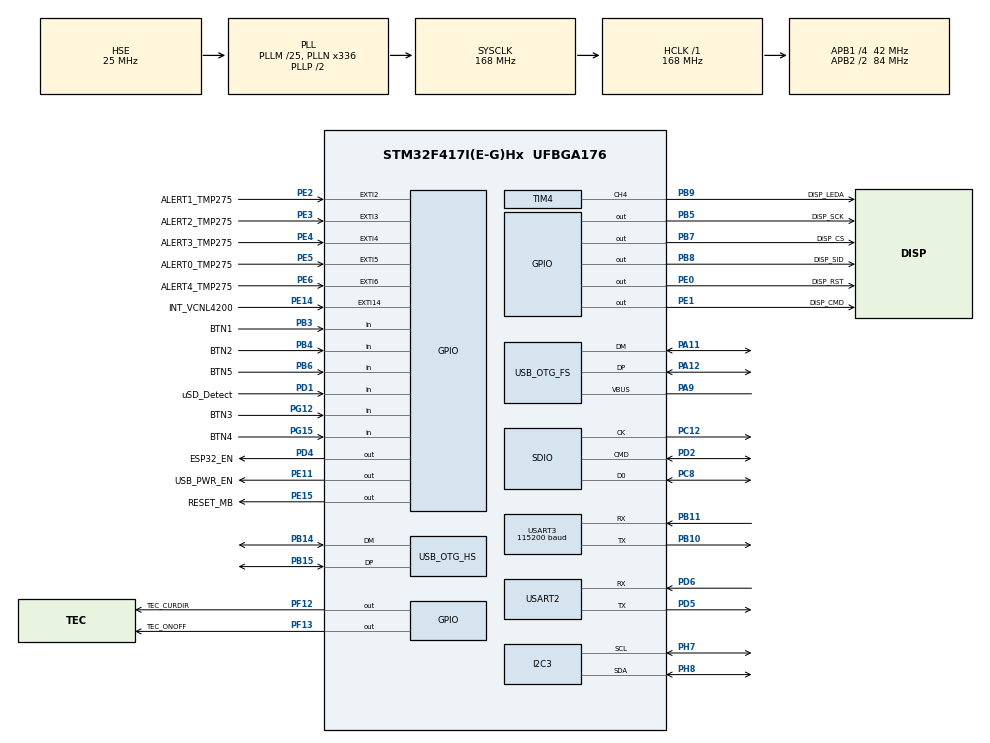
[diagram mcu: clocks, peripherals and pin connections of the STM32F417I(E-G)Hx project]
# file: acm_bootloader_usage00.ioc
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Dma.Request0=SDIO_RX
Dma.Request1=SDIO_TX
Dma.SDIO_RX.0.Direction=DMA_PERIPH_TO_MEMORY
Dma.SDIO_RX.0.FIFOMode=DMA_FIFOMODE_ENABLE
Dma.SDIO_RX.0.FIFOThreshold=DMA_FIFO_THRESHOLD_FULL
Dma.SDIO_RX.0.Instance=DMA2_Stream3
Dma.SDIO_RX.0.MemBurst=DMA_MBURST_INC4
Dma.SDIO_RX.0.MemDataAlignment=DMA_MDATAALIGN_WORD
Dma.SDIO_RX.0.MemInc=DMA_MINC_ENABLE
Dma.SDIO_RX.0.Mode=DMA_PFCTRL
Dma.SDIO_RX.0.PeriphBurst=DMA_PBURST_INC4
Dma.SDIO_RX.0.PeriphDataAlignment=DMA_PDATAALIGN_WORD
Dma.SDIO_RX.0.PeriphInc=DMA_PINC_DISABLE
Dma.SDIO_RX.0.Priority=DMA_PRIORITY_LOW
Dma.SDIO_TX.1.Direction=DMA_MEMORY_TO_PERIPH
Dma.SDIO_TX.1.FIFOMode=DMA_FIFOMODE_ENABLE
Dma.SDIO_TX.1.FIFOThreshold=DMA_FIFO_THRESHOLD_FULL
Dma.SDIO_TX.1.Instance=DMA2_Stream6
Dma.SDIO_TX.1.MemBurst=DMA_MBURST_INC4
Dma.SDIO_TX.1.MemDataAlignment=DMA_MDATAALIGN_WORD
Dma.SDIO_TX.1.MemInc=DMA_MINC_ENABLE
Dma.SDIO_TX.1.Mode=DMA_PFCTRL
Dma.SDIO_TX.1.PeriphBurst=DMA_PBURST_INC4
Dma.SDIO_TX.1.PeriphDataAlignment=DMA_PDATAALIGN_WORD
Dma.SDIO_TX.1.PeriphInc=DMA_PINC_DISABLE
Dma.SDIO_TX.1.Priority=DMA_PRIORITY_LOW
FATFS.BSP.number=1
FATFS.USE_DMA_CODE_SD=1
FATFS._MAX_SS=4096
FATFS._USE_LFN=1
FATFS0.BSP.STBoard=false
FATFS0.BSP.api=Unknown
FATFS0.BSP.i2caddr=0
FATFS0.BSP.instance=PD1
FATFS0.BSP.ip=GPIO
FATFS0.BSP.mode=Input
FATFS0.BSP.name=Detect_SDIO
FATFS0.BSP.solution=PD1
IWDG.Prescaler=IWDG_PRESCALER_256
Mcu.Family=STM32F4
Mcu.Name=STM32F417I(E-G)Hx
Mcu.Package=UFBGA176
NVIC.DMA2_Stream3_IRQn=true\:0\:0\:false\:false\:true\:false\:true
NVIC.DMA2_Stream6_IRQn=true\:0\:0\:false\:false\:true\:false\:true
NVIC.OTG_FS_IRQn=true\:0\:0\:false\:false\:true\:false\:true
NVIC.OTG_HS_IRQn=true\:0\:0\:false\:false\:true\:false\:true
NVIC.PriorityGroup=NVIC_PRIORITYGROUP_4
NVIC.SDIO_IRQn=true\:0\:0\:false\:false\:true\:true\:true
NVIC.TIM1_UP_TIM10_IRQn=true\:0\:0\:false\:false\:true\:false\:true
NVIC.TimeBase=TIM1_UP_TIM10_IRQn
NVIC.TimeBaseIP=TIM1
NVIC.USART2_IRQn=true\:0\:0\:false\:false\:true\:true\:true
NVIC.USART3_IRQn=true\:0\:0\:false\:false\:true\:true\:true
PA11.Mode=Device_Only
PA11.Signal=USB_OTG_FS_DM
PA12.Mode=Device_Only
PA12.Signal=USB_OTG_FS_DP
PA13.Mode=Serial_Wire
PA13.Signal=SYS_JTMS-SWDIO
PA14.Mode=Serial_Wire
PA14.Signal=SYS_JTCK-SWCLK
PA9.Mode=Activate_VBUS
PA9.Signal=USB_OTG_FS_VBUS
PB10.Mode=Asynchronous
PB10.Signal=USART3_TX
PB11.Mode=Asynchronous
PB11.Signal=USART3_RX
PB14.Mode=Host_FS
PB14.Signal=USB_OTG_HS_DM
PB15.Mode=Host_FS
PB15.Signal=USB_OTG_HS_DP
PB3.GPIO_Label=BTN1
PB3.Signal=GPIO_Input
PB4.GPIO_Label=BTN2
PB4.Signal=GPIO_Input
PB5.GPIO_Label=DISP_SCK
PB5.Signal=GPIO_Output
PB6.GPIO_Label=BTN5
PB6.Signal=GPIO_Input
PB7.GPIO_Label=DISP_CS
PB7.Signal=GPIO_Output
PB8.GPIO_Label=DISP_SID
PB8.Signal=GPIO_Output
PB9.GPIO_Label=DISP_LEDA
PB9.Signal=S_TIM4_CH4
PC12.Mode=SD_1_bit
PC12.Signal=SDIO_CK
PC14-OSC32_IN.Mode=LSE-External-Oscillator
PC14-OSC32_IN.Signal=RCC_OSC32_IN
PC15-OSC32_OUT.Mode=LSE-External-Oscillator
PC15-OSC32_OUT.Signal=RCC_OSC32_OUT
PC8.Mode=SD_1_bit
PC8.Signal=SDIO_D0
PD1.GPIO_Label=uSD_Detect
PD1.Signal=GPIO_Input
PD2.Mode=SD_1_bit
PD2.Signal=SDIO_CMD
PD4.GPIO_Label=ESP32_EN
PD4.Signal=GPIO_Output
PD5.Mode=Asynchronous
PD5.Signal=USART2_TX
PD6.Mode=Asynchronous
PD6.Signal=USART2_RX
PE0.GPIO_Label=DISP_RST
PE0.Signal=GPIO_Output
PE1.GPIO_Label=DISP_CMD
PE1.Signal=GPIO_Output
PE11.GPIO_Label=USB_PWR_EN
PE11.Signal=GPIO_Output
PE14.GPIO_Label=INT_VCNL4200
PE14.Signal=GPXTI14
PE15.GPIO_Label=RESET_MB
PE15.Signal=GPIO_Output
PE2.GPIO_Label=ALERT1_TMP275
PE2.Signal=GPXTI2
PE3.GPIO_Label=ALERT2_TMP275
PE3.Signal=GPXTI3
PE4.GPIO_Label=ALERT3_TMP275
PE4.Signal=GPXTI4
PE5.GPIO_Label=ALERT0_TMP275
PE5.Signal=GPXTI5
PE6.GPIO_Label=ALERT4_TMP275
PE6.Signal=GPXTI6
PF12.GPIO_Label=TEC_CURDIR
PF12.Signal=GPIO_Output
PF13.GPIO_Label=TEC_ONOFF
PF13.Signal=GPIO_Output
PG12.GPIO_Label=BTN3
PG12.Signal=GPIO_Input
PG15.GPIO_Label=BTN4
PG15.Signal=GPIO_Input
PH0-OSC_IN.Mode=HSE-External-Oscillator
PH0-OSC_IN.Signal=RCC_OSC_IN
PH1-OSC_OUT.Mode=HSE-External-Oscillator
PH1-OSC_OUT.Signal=RCC_OSC_OUT
PH7.Mode=I2C
PH7.Signal=I2C3_SCL
PH8.Mode=I2C
PH8.Signal=I2C3_SDA
ProjectManager.HeapSize=0x800
ProjectManager.StackSize=0x1000
ProjectManager.TargetToolchain=STM32CubeIDE
RCC.48MHZClocksFreq_Value=48000000
RCC.AHBFreq_Value=168000000
RCC.APB1CLKDivider=RCC_HCLK_DIV4
RCC.APB1Freq_Value=42000000
RCC.APB1TimFreq_Value=84000000
RCC.APB2CLKDivider=RCC_HCLK_DIV2
RCC.APB2Freq_Value=84000000
RCC.APB2TimFreq_Value=168000000
RCC.CortexFreq_Value=168000000
RCC.HCLKFreq_Value=168000000
RCC.HSE_VALUE=25000000
RCC.HSI_VALUE=16000000
RCC.PLLM=25
RCC.PLLN=336
RCC.PLLQ=7
RCC.RCC_MCO1Source=RCC_MCO1SOURCE_PLLCLK
RCC.RCC_MCODiv1=RCC_MCODIV_3
RCC.RCC_RTC_Clock_Source=RCC_RTCCLKSOURCE_LSE
RCC.RCC_RTC_Clock_SourceVirtual=RCC_RTCCLKSOURCE_LSE
RCC.SYSCLKFreq_VALUE=168000000
RCC.SYSCLKSource=RCC_SYSCLKSOURCE_PLLCLK
RCC.VCOOutputFreq_Value=336000000
RTC.Date=2
RTC.Format=RTC_FORMAT_BIN
RTC.Month=RTC_MONTH_AUGUST
RTC.WeekDay=RTC_WEEKDAY_SUNDAY
RTC.Year=20
SDIO.ClockDiv=3
SH.S_TIM4_CH4.0=TIM4_CH4,PWM Generation4 CH4
TIM4.Channel-PWM\ Generation4\ CH4=TIM_CHANNEL_4
TIM4.OCPolarity_4=TIM_OCPOLARITY_LOW
TIM4.Period=500-1
TIM4.Prescaler=42-1
TIM4.Pulse-PWM\ Generation4\ CH4=250-1
USART2.VirtualMode=VM_ASYNC
USART3.BaudRate=115200
USART3.VirtualMode=VM_ASYNC
USB_DEVICE.CLASS_NAME_FS=CDC
USB_DEVICE.VirtualMode-CDC_FS=Cdc
USB_DEVICE.VirtualModeFS=Cdc_FS
USB_HOST.BSP.number=1
USB_HOST.USBH_DEBUG_LEVEL-MSC_HS=2
USB_HOST.USBH_HandleTypeDef-MSC_HS=hUsbHostHS
USB_HOST.VirtualModeHS=Msc
USB_HOST0.BSP.STBoard=false
USB_HOST0.BSP.api=Unknown
USB_HOST0.BSP.i2caddr=0
USB_HOST0.BSP.instance=PE11
USB_HOST0.BSP.ip=GPIO
USB_HOST0.BSP.mode=Output
USB_HOST0.BSP.name=Drive_VBUS_HS
USB_HOST0.BSP.solution=PE11
USB_OTG_FS.VirtualMode=Device_Only
USB_OTG_HS.VirtualMode-Host_FS=Host_FS
USB_OTG_HS.dma_enable-Host_FS=ENABLE
VP_CRC_VS_CRC.Mode=CRC_Activate
VP_FATFS_VS_SDIO.Mode=SDIO
VP_FATFS_VS_USB.Mode=USB
VP_IWDG_VS_IWDG.Mode=IWDG_Activate
VP_RTC_VS_RTC_Activate.Mode=RTC_Enabled
VP_RTC_VS_RTC_Calendar.Mode=RTC_Calendar
VP_SYS_VS_tim1.Mode=TIM1
VP_TIM4_VS_ClockSourceINT.Mode=Internal
VP_USB_DEVICE_VS_USB_DEVICE_CDC_FS.Mode=CDC_FS
VP_USB_HOST_VS_USB_HOST_MSC_HS.Mode=MSC_HS
board=custom

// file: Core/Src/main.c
/* USER CODE BEGIN Header */
/**
  ******************************************************************************
  * @file           : main.c
  * @brief          : Main program body
  ******************************************************************************
  * @attention
  *
  * <h2><center>&copy; Copyright (c) 2021 STMicroelectronics.
  * All rights reserved.</center></h2>
  *
  * This software component is licensed by ST under Ultimate Liberty license
  * SLA0044, the "License"; You may not use this file except in compliance with
  * the License. You may obtain a copy of the License at:
  *                             www.st.com/SLA0044
  *
  ******************************************************************************
  */
/* USER CODE END Header */
#include "main.h"
#include "crc.h"
#include "dma.h"
#include "fatfs.h"
#include "i2c.h"
#include "iwdg.h"
#include "rtc.h"
#include "sdio.h"
#include "tim.h"
#include "usart.h"
#include "usb_device.h"
#include "usb_host.h"
#include "gpio.h"

/* USER CODE BEGIN Includes */
#include "retarget.h"
#include "fonts/font_tahoma.h"
#include "graphics.h"
#include "st7565.h"
#include "libbmp.h"
#include "eeprom.h"
/* USER CODE END Includes */

/* USER CODE BEGIN PM */
#define IS_BTN_PRESSED() \
    ((HAL_GPIO_ReadPin(BTN2_GPIO_Port, BTN2_Pin) == GPIO_PIN_RESET) ? 1 : 0)
#define IS_BTN_PRESSED1() \
    ((HAL_GPIO_ReadPin(BTN1_GPIO_Port, BTN1_Pin) == GPIO_PIN_RESET) ? 1 : 0)
#define AUTOPROG_ADDRESS	(uint32_t)0x080c0000
/* USER CODE END PM */

/* USER CODE BEGIN PV */
uint32_t __attribute__((section(".newsection")))  sharedmem;
uint16_t VirtAddVarTab[NB_OF_VAR]={10,0,0};
/* USER CODE END PV */

void SystemClock_Config(void);
void MX_USB_HOST_Process(void);

/* USER CODE BEGIN 0 */

void Peripherials_DeInit(void) {
//	BSP_SD_DeInit();
//	FATFS_DeInit();
	MX_FATFS_DeInit();
	HAL_UART_DeInit(&huart2);HAL_UART_MspDeInit(&huart2);
	HAL_UART_DeInit(&huart3);HAL_UART_MspDeInit(&huart3);
	BSP_SD_DeInit();
	MX_USB_HOST_DeInit();
	MX_GPIO_DeInit();
	__HAL_IWDG_RELOAD_COUNTER(&hiwdg);
}
/* USER CODE END 0 */

int main(void)
{

  /* MCU Configuration--------------------------------------------------------*/

  /* Reset of all peripherals, Initializes the Flash interface and the Systick. */
  HAL_Init();

  /* Configure the system clock */
  SystemClock_Config();

  /* Initialize all configured peripherals */
  MX_GPIO_Init();
  MX_DMA_Init();
  MX_I2C3_Init();
  MX_TIM4_Init();
  MX_RTC_Init();
  MX_SDIO_SD_Init();
  MX_FATFS_Init();
  MX_USB_DEVICE_Init();
  MX_USART2_UART_Init();
  MX_USART3_UART_Init();
  MX_USB_HOST_Init();
  MX_CRC_Init();
  MX_IWDG_Init();
  /* USER CODE BEGIN 2 */
	RetargetInit(&huart3);
	/////////////////////////////////////////
	HAL_Delay(1000);
	//////////////////////init LCD

	glcd_init(128,64);
	glcd_flip_screen(XLR_YTB);
	HAL_Delay(2000);
  /* USER CODE END 2 */

  /* Infinite loop */
  /* USER CODE BEGIN WHILE */
	char tmpstr[100];
	uint8_t counter=0;
	uint16_t Data;
	 printf("Start application.%x\n\r",sharedmem);
	 HAL_FLASH_Unlock();
	 HAL_Delay(200);
	 EE_Init();
	 HAL_Delay(200);
	 EE_ReadVariable(VirtAddVarTab[0], &Data);
	 HAL_FLASH_Lock();
	 printf("Application version:%d\n\r",Data);
	while (1)
  {
		HAL_IWDG_Refresh(&hiwdg);
		printf("Start application versionb(%d):%d\n\r",Data,counter);
	 sprintf(tmpstr,"Start application%d",counter++);
	draw_text(tmpstr,0,0 , Tahoma8, 1,0);
	glcd_refresh();
//	  HAL_TIM_PWM_Start(&htim4, TIM_CHANNEL_4);
//	 	 HAL_Delay(2000);
//	 HAL_TIM_PWM_Stop(&htim4, TIM_CHANNEL_4);

//	 	HAL_Delay(2000);
	if(IS_BTN_PRESSED())
	{
		////set shared memory
		sharedmem=2;
		Peripherials_DeInit();
		HAL_Delay(100);
		SCB->AIRCR= 0x05FA0000 | (uint32_t)0x04; //system reset
				while(1);

	}
	if(IS_BTN_PRESSED1())
	{
		sharedmem=4;
		Peripherials_DeInit();
		HAL_Delay(100);
		SCB->AIRCR= 0x05FA0000 | (uint32_t)0x04; //system reset
				while(1);
	}
	HAL_Delay(500);
    /* USER CODE END WHILE */
    MX_USB_HOST_Process();

  }
}

void SystemClock_Config(void)
{
  RCC_OscInitTypeDef RCC_OscInitStruct = {0};
  RCC_ClkInitTypeDef RCC_ClkInitStruct = {0};
  RCC_PeriphCLKInitTypeDef PeriphClkInitStruct = {0};

  /** Configure the main internal regulator output voltage
  */
  __HAL_RCC_PWR_CLK_ENABLE();
  __HAL_PWR_VOLTAGESCALING_CONFIG(PWR_REGULATOR_VOLTAGE_SCALE1);
  /** Initializes the RCC Oscillators according to the specified parameters
  * in the RCC_OscInitTypeDef structure.
  */
  RCC_OscInitStruct.OscillatorType = RCC_OSCILLATORTYPE_LSI|RCC_OSCILLATORTYPE_HSE
                              |RCC_OSCILLATORTYPE_LSE;
  RCC_OscInitStruct.HSEState = RCC_HSE_ON;
  RCC_OscInitStruct.LSEState = RCC_LSE_ON;
  RCC_OscInitStruct.LSIState = RCC_LSI_ON;
  RCC_OscInitStruct.PLL.PLLState = RCC_PLL_ON;
  RCC_OscInitStruct.PLL.PLLSource = RCC_PLLSOURCE_HSE;
  RCC_OscInitStruct.PLL.PLLM = 25;
  RCC_OscInitStruct.PLL.PLLN = 336;
  RCC_OscInitStruct.PLL.PLLP = RCC_PLLP_DIV2;
  RCC_OscInitStruct.PLL.PLLQ = 7;
  if (HAL_RCC_OscConfig(&RCC_OscInitStruct) != HAL_OK)
  {
    Error_Handler();
  }
  /** Initializes the CPU, AHB and APB buses clocks
  */
  RCC_ClkInitStruct.ClockType = RCC_CLOCKTYPE_HCLK|RCC_CLOCKTYPE_SYSCLK
                              |RCC_CLOCKTYPE_PCLK1|RCC_CLOCKTYPE_PCLK2;
  RCC_ClkInitStruct.SYSCLKSource = RCC_SYSCLKSOURCE_PLLCLK;
  RCC_ClkInitStruct.AHBCLKDivider = RCC_SYSCLK_DIV1;
  RCC_ClkInitStruct.APB1CLKDivider = RCC_HCLK_DIV4;
  RCC_ClkInitStruct.APB2CLKDivider = RCC_HCLK_DIV2;

  if (HAL_RCC_ClockConfig(&RCC_ClkInitStruct, FLASH_LATENCY_5) != HAL_OK)
  {
    Error_Handler();
  }
  PeriphClkInitStruct.PeriphClockSelection = RCC_PERIPHCLK_RTC;
  PeriphClkInitStruct.RTCClockSelection = RCC_RTCCLKSOURCE_LSE;
  if (HAL_RCCEx_PeriphCLKConfig(&PeriphClkInitStruct) != HAL_OK)
  {
    Error_Handler();
  }
}

 /**
  * @brief  Period elapsed callback in non blocking mode
  * @note   This function is called  when TIM1 interrupt took place, inside
  * HAL_TIM_IRQHandler(). It makes a direct call to HAL_IncTick() to increment
  * a global variable "uwTick" used as application time base.
  * @param  htim : TIM handle
  * @retval None
  */
void HAL_TIM_PeriodElapsedCallback(TIM_HandleTypeDef *htim)
{
  if (htim->Instance == TIM1) {
    HAL_IncTick();
  }
}

void Error_Handler(void)
{
  __disable_irq();
  while (1)
  {
  }
}

/************************ (C) COPYRIGHT STMicroelectronics *****END OF FILE****/
